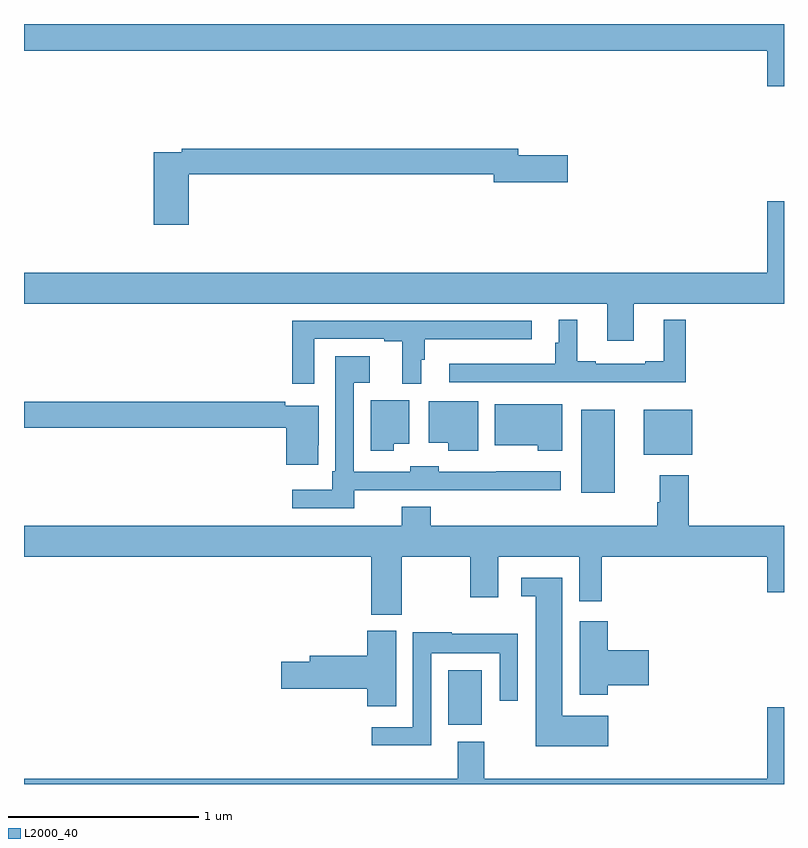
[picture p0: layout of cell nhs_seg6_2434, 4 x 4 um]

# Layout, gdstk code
import gdstk
lib = gdstk.Library(unit=1e-6, precision=1e-09)
def R(c, l, rs):  # rectangles x0, y0, x1, y1
    for r in rs: c.add(gdstk.rectangle(r[:2], r[2:], *l))
def P(c, l, *ps):  # polygons
    for p in ps: c.add(gdstk.Polygon(p, *l))
L2000_40 = (2000, 40)

nhs_seg6_2434 = lib.new_cell('nhs_seg6_2434')
R(nhs_seg6_2434, L2000_40, [(259.232,919.811,259.408,920.098), (259.934,921.032,260.11,921.469), (260.261,921.233,260.518,921.469)])
P(nhs_seg6_2434, L2000_40, [(261,923.5),(257,923.5),(257,923.36),(260.912,923.36),(260.912,923.172),(261,923.172)],
  [(257.867,922.708),(259.472,922.708),(259.472,922.666),(259.861,922.666),(259.861,922.808),(259.6,922.808),(259.6,922.844),(257.83,922.844),(257.83,922.824),(257.684,922.824),(257.684,922.443),(257.867,922.443)],
  [(260.209,922.028),(261,922.028),(261,922.567),(260.912,922.567),(260.912,922.192),(257,922.192),(257,922.028),(260.069,922.028),(260.069,921.834),(260.209,921.834)],
  [(260.483,921.943),(260.366,921.943),(260.366,921.724),(260.27,921.724),(260.27,921.711),(260.008,921.711),(260.008,921.724),(259.912,921.724),(259.912,921.943),(259.814,921.943),(259.814,921.822),(259.795,921.822),(259.795,921.712),(259.239,921.712),(259.239,921.615),(259.938,921.615),(259.938,921.614),(260.483,921.614)],
  [(258.528,921.843),(258.896,921.843),(258.896,921.831),(258.992,921.831),(258.992,921.606),(259.09,921.606),(259.09,921.732),(259.109,921.732),(259.109,921.842),(259.672,921.842),(259.672,921.939),(258.412,921.939),(258.412,921.606),(258.528,921.606)],
  [(258.738,921.047),(259.825,921.047),(259.825,921.145),(259.486,921.145),(259.486,921.144),(259.182,921.144),(259.182,921.172),(259.032,921.172),(259.032,921.144),(258.735,921.144),(258.735,921.611),(258.82,921.611),(258.82,921.751),(258.639,921.751),(258.639,921.145),(258.623,921.145),(258.623,921.049),(258.411,921.049),(258.411,920.952),(258.738,920.952)],
  [(258.946,921.29),(259.027,921.29),(259.027,921.52),(258.824,921.52),(258.824,921.254),(258.946,921.254)],
  [(259.39,921.514),(259.13,921.514),(259.13,921.296),(259.233,921.296),(259.233,921.254),(259.39,921.254)],
  [(258.549,921.283),(258.55,921.283),(258.55,921.492),(258.374,921.492),(258.374,921.512),(257,921.512),(257,921.376),(258.38,921.376),(258.38,921.18),(258.549,921.18)],
  [(259.834,921.499),(259.478,921.499),(259.478,921.284),(259.705,921.284),(259.705,921.254),(259.834,921.254)],
  [(258.987,920.696),(259.348,920.696),(259.348,920.484),(259.495,920.484),(259.495,920.696),(259.922,920.696),(259.922,920.463),(260.041,920.463),(260.041,920.696),(260.912,920.696),(260.912,920.508),(261,920.508),(261,920.86),(260.498,920.86),(260.498,921.124),(260.345,921.124),(260.345,920.984),(260.333,920.984),(260.333,920.86),(259.142,920.86),(259.142,920.959),(258.989,920.959),(258.989,920.86),(257,920.86),(257,920.696),(258.827,920.696),(258.827,920.392),(258.987,920.392)],
  [(260.074,919.858),(259.834,919.858),(259.834,920.586),(259.617,920.586),(259.617,920.489),(259.694,920.489),(259.694,919.7),(260.074,919.7)],
  [(260.072,920.021),(260.287,920.021),(260.287,920.204),(260.072,920.204),(260.072,920.356),(259.925,920.356),(259.925,919.971),(260.072,919.971)],
  [(258.958,920.307),(258.806,920.307),(258.806,920.174),(258.503,920.174),(258.503,920.144),(258.354,920.144),(258.354,920.002),(258.806,920.002),(258.806,919.908),(258.958,919.908)],
  [(259.143,920.189),(259.503,920.189),(259.503,919.938),(259.599,919.938),(259.599,920.29),(259.25,920.29),(259.25,920.3),(259.047,920.3),(259.047,919.8),(258.831,919.8),(258.831,919.703),(259.143,919.703)],
  [(261,919.903),(260.912,919.903),(260.912,919.528),(259.423,919.528),(259.423,919.723),(259.283,919.723),(259.283,919.528),(257,919.528),(257,919.5),(261,919.5)])

lib.write_gds('nhs_seg6_2434.gds')
